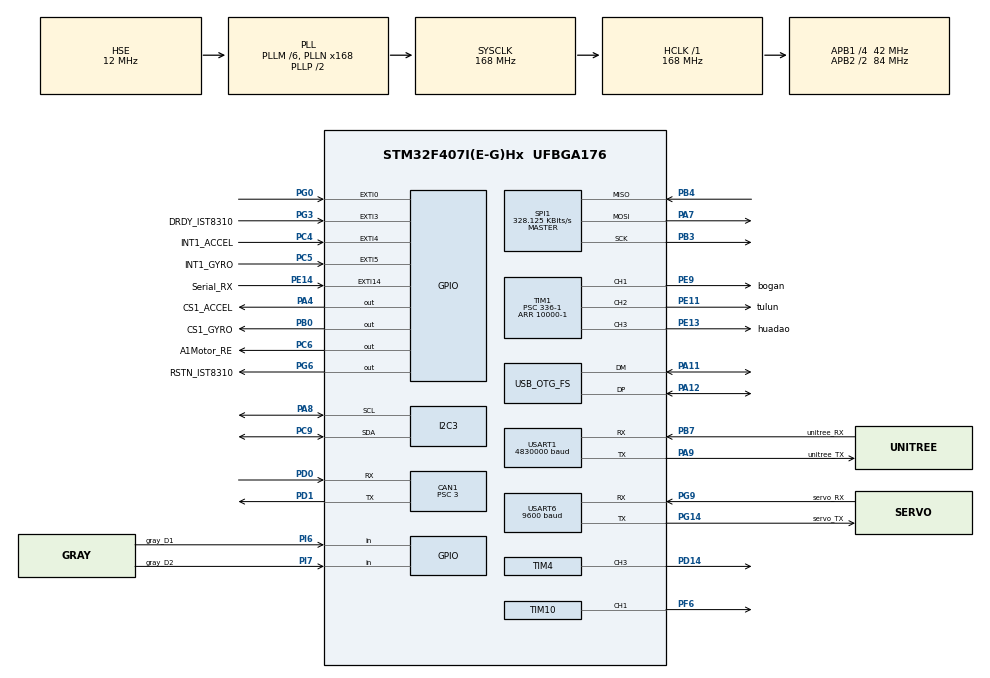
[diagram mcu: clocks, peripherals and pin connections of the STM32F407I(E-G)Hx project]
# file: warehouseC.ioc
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CAN1.BS1=CAN_BS1_10TQ
CAN1.BS2=CAN_BS2_3TQ
CAN1.CalculateBaudRate=1000000
CAN1.CalculateTimeBit=1000
CAN1.CalculateTimeQuantum=71.42857142857143
CAN1.Prescaler=3
Dma.Request0=SPI1_RX
Dma.Request1=SPI1_TX
Dma.Request2=USART1_TX
Dma.Request3=USART1_RX
Dma.Request4=USART6_RX
Dma.Request5=USART6_TX
Dma.SPI1_RX.0.Direction=DMA_PERIPH_TO_MEMORY
Dma.SPI1_RX.0.FIFOMode=DMA_FIFOMODE_DISABLE
Dma.SPI1_RX.0.Instance=DMA2_Stream2
Dma.SPI1_RX.0.MemDataAlignment=DMA_MDATAALIGN_BYTE
Dma.SPI1_RX.0.MemInc=DMA_MINC_ENABLE
Dma.SPI1_RX.0.Mode=DMA_NORMAL
Dma.SPI1_RX.0.PeriphDataAlignment=DMA_PDATAALIGN_BYTE
Dma.SPI1_RX.0.PeriphInc=DMA_PINC_DISABLE
Dma.SPI1_RX.0.Priority=DMA_PRIORITY_VERY_HIGH
Dma.SPI1_TX.1.Direction=DMA_MEMORY_TO_PERIPH
Dma.SPI1_TX.1.FIFOMode=DMA_FIFOMODE_DISABLE
Dma.SPI1_TX.1.Instance=DMA2_Stream3
Dma.SPI1_TX.1.MemDataAlignment=DMA_MDATAALIGN_BYTE
Dma.SPI1_TX.1.MemInc=DMA_MINC_ENABLE
Dma.SPI1_TX.1.Mode=DMA_NORMAL
Dma.SPI1_TX.1.PeriphDataAlignment=DMA_PDATAALIGN_BYTE
Dma.SPI1_TX.1.PeriphInc=DMA_PINC_DISABLE
Dma.SPI1_TX.1.Priority=DMA_PRIORITY_HIGH
Dma.USART1_RX.3.Direction=DMA_PERIPH_TO_MEMORY
Dma.USART1_RX.3.FIFOMode=DMA_FIFOMODE_DISABLE
Dma.USART1_RX.3.Instance=DMA2_Stream5
Dma.USART1_RX.3.MemDataAlignment=DMA_MDATAALIGN_BYTE
Dma.USART1_RX.3.MemInc=DMA_MINC_ENABLE
Dma.USART1_RX.3.Mode=DMA_CIRCULAR
Dma.USART1_RX.3.PeriphDataAlignment=DMA_PDATAALIGN_BYTE
Dma.USART1_RX.3.PeriphInc=DMA_PINC_DISABLE
Dma.USART1_RX.3.Priority=DMA_PRIORITY_VERY_HIGH
Dma.USART1_TX.2.Direction=DMA_MEMORY_TO_PERIPH
Dma.USART1_TX.2.FIFOMode=DMA_FIFOMODE_DISABLE
Dma.USART1_TX.2.Instance=DMA2_Stream7
Dma.USART1_TX.2.MemDataAlignment=DMA_MDATAALIGN_BYTE
Dma.USART1_TX.2.MemInc=DMA_MINC_ENABLE
Dma.USART1_TX.2.Mode=DMA_CIRCULAR
Dma.USART1_TX.2.PeriphDataAlignment=DMA_PDATAALIGN_BYTE
Dma.USART1_TX.2.PeriphInc=DMA_PINC_DISABLE
Dma.USART1_TX.2.Priority=DMA_PRIORITY_LOW
Dma.USART6_RX.4.Direction=DMA_PERIPH_TO_MEMORY
Dma.USART6_RX.4.FIFOMode=DMA_FIFOMODE_DISABLE
Dma.USART6_RX.4.Instance=DMA2_Stream1
Dma.USART6_RX.4.MemDataAlignment=DMA_MDATAALIGN_BYTE
Dma.USART6_RX.4.MemInc=DMA_MINC_ENABLE
Dma.USART6_RX.4.Mode=DMA_NORMAL
Dma.USART6_RX.4.PeriphDataAlignment=DMA_PDATAALIGN_BYTE
Dma.USART6_RX.4.PeriphInc=DMA_PINC_DISABLE
Dma.USART6_RX.4.Priority=DMA_PRIORITY_LOW
Dma.USART6_TX.5.Direction=DMA_MEMORY_TO_PERIPH
Dma.USART6_TX.5.FIFOMode=DMA_FIFOMODE_DISABLE
Dma.USART6_TX.5.Instance=DMA2_Stream6
Dma.USART6_TX.5.MemDataAlignment=DMA_MDATAALIGN_BYTE
Dma.USART6_TX.5.MemInc=DMA_MINC_ENABLE
Dma.USART6_TX.5.Mode=DMA_NORMAL
Dma.USART6_TX.5.PeriphDataAlignment=DMA_PDATAALIGN_BYTE
Dma.USART6_TX.5.PeriphInc=DMA_PINC_DISABLE
Dma.USART6_TX.5.Priority=DMA_PRIORITY_LOW
FREERTOS.INCLUDE_eTaskGetState=1
FREERTOS.INCLUDE_pcTaskGetTaskName=1
FREERTOS.INCLUDE_uxTaskGetStackHighWaterMark=1
FREERTOS.INCLUDE_vTaskCleanUpResources=1
FREERTOS.INCLUDE_vTaskDelayUntil=1
FREERTOS.INCLUDE_xEventGroupSetBitFromISR=1
FREERTOS.INCLUDE_xQueueGetMutexHolder=1
FREERTOS.INCLUDE_xSemaphoreGetMutexHolder=1
FREERTOS.INCLUDE_xTaskAbortDelay=1
FREERTOS.INCLUDE_xTaskGetCurrentTaskHandle=1
FREERTOS.INCLUDE_xTaskGetHandle=1
FREERTOS.INCLUDE_xTimerPendFunctionCall=1
FREERTOS.Tasks01=Prepare_Task_,-3,128,Prepare_Task,As weak,NULL,Dynamic,NULL,NULL
FREERTOS.configUSE_TIMERS=1
I2C3.I2C_Mode=I2C_Fast
Mcu.Family=STM32F4
Mcu.Name=STM32F407I(E-G)Hx
Mcu.Package=UFBGA176
NVIC.CAN1_RX0_IRQn=true\:6\:0\:true\:false\:true\:true\:true\:true\:true
NVIC.DMA2_Stream1_IRQn=true\:5\:0\:false\:false\:true\:true\:false\:true\:true
NVIC.DMA2_Stream2_IRQn=true\:5\:0\:true\:false\:true\:false\:false\:true\:true
NVIC.DMA2_Stream3_IRQn=true\:5\:0\:false\:false\:true\:true\:false\:true\:true
NVIC.DMA2_Stream5_IRQn=true\:5\:0\:false\:false\:true\:true\:false\:true\:true
NVIC.DMA2_Stream6_IRQn=true\:5\:0\:false\:false\:true\:true\:false\:true\:true
NVIC.DMA2_Stream7_IRQn=true\:5\:0\:false\:false\:true\:true\:false\:true\:true
NVIC.EXTI0_IRQn=true\:6\:0\:true\:false\:true\:true\:true\:true\:true
NVIC.EXTI15_10_IRQn=true\:5\:0\:false\:false\:true\:true\:true\:true\:true
NVIC.EXTI3_IRQn=true\:5\:0\:false\:false\:true\:true\:true\:true\:true
NVIC.EXTI4_IRQn=true\:5\:0\:false\:false\:true\:true\:true\:true\:true
NVIC.EXTI9_5_IRQn=true\:5\:0\:false\:false\:true\:true\:true\:true\:true
NVIC.OTG_FS_IRQn=true\:5\:0\:false\:false\:true\:true\:false\:true\:true
NVIC.PriorityGroup=NVIC_PRIORITYGROUP_4
NVIC.TIM2_IRQn=true\:5\:0\:false\:false\:true\:true\:true\:true\:true
NVIC.TIM6_DAC_IRQn=true\:15\:0\:false\:false\:true\:false\:false\:true\:true
NVIC.TimeBase=TIM6_DAC_IRQn
NVIC.TimeBaseIP=TIM6
NVIC.USART1_IRQn=true\:5\:0\:false\:false\:true\:true\:true\:true\:true
NVIC.USART6_IRQn=true\:5\:0\:false\:false\:true\:true\:true\:true\:true
PA11.Mode=Device_Only
PA11.Signal=USB_OTG_FS_DM
PA12.Mode=Device_Only
PA12.Signal=USB_OTG_FS_DP
PA13.Mode=Serial_Wire
PA13.Signal=SYS_JTMS-SWDIO
PA14.Mode=Serial_Wire
PA14.Signal=SYS_JTCK-SWCLK
PA4.GPIO_Label=CS1_ACCEL
PA4.GPIO_PuPd=GPIO_PULLUP
PA4.GPIO_Speed=GPIO_SPEED_FREQ_HIGH
PA4.PinState=GPIO_PIN_SET
PA4.Signal=GPIO_Output
PA7.GPIO_PuPd=GPIO_PULLUP
PA7.Mode=Full_Duplex_Master
PA7.Signal=SPI1_MOSI
PA8.GPIO_Pu=GPIO_PULLUP
PA8.Mode=I2C
PA8.Signal=I2C3_SCL
PA9.GPIO_Label=unitree_TX
PA9.Mode=Asynchronous
PA9.Signal=USART1_TX
PB0.GPIO_Label=CS1_GYRO
PB0.GPIO_PuPd=GPIO_PULLUP
PB0.GPIO_Speed=GPIO_SPEED_FREQ_HIGH
PB0.PinState=GPIO_PIN_SET
PB0.Signal=GPIO_Output
PB3.GPIO_PuPd=GPIO_PULLUP
PB3.Mode=Full_Duplex_Master
PB3.Signal=SPI1_SCK
PB4.GPIO_PuPd=GPIO_PULLUP
PB4.Mode=Full_Duplex_Master
PB4.Signal=SPI1_MISO
PB7.GPIO_Label=unitree_RX
PB7.Mode=Asynchronous
PB7.Signal=USART1_RX
PC4.GPIO_Label=INT1_ACCEL
PC4.GPIO_ModeDefaultEXTI=GPIO_MODE_IT_FALLING
PC4.GPIO_PuPd=GPIO_PULLUP
PC4.Signal=GPXTI4
PC5.GPIO_Label=INT1_GYRO
PC5.GPIO_ModeDefaultEXTI=GPIO_MODE_IT_FALLING
PC5.GPIO_PuPd=GPIO_PULLUP
PC5.Signal=GPXTI5
PC6.GPIO_Label=A1Motor_RE
PC6.Signal=GPIO_Output
PC9.GPIO_Pu=GPIO_PULLUP
PC9.Mode=I2C
PC9.Signal=I2C3_SDA
PD0.Mode=CAN_Activate
PD0.Signal=CAN1_RX
PD1.Mode=CAN_Activate
PD1.Signal=CAN1_TX
PD14.GPIO_PuPd=GPIO_PULLUP
PD14.GPIO_Speed=GPIO_SPEED_FREQ_HIGH
PD14.Signal=S_TIM4_CH3
PE11.GPIO_Label=tulun
PE11.Signal=S_TIM1_CH2
PE13.GPIO_Label=huadao
PE13.Signal=S_TIM1_CH3
PE14.GPIO_Label=Serial_RX
PE14.GPIO_ModeDefaultEXTI=GPIO_MODE_IT_FALLING
PE14.GPIO_PuPd=GPIO_PULLUP
PE14.Signal=GPXTI14
PE9.GPIO_Label=bogan
PE9.Signal=S_TIM1_CH1
PF6.GPIO_PuPd=GPIO_PULLUP
PF6.GPIO_Speed=GPIO_SPEED_FREQ_HIGH
PF6.Signal=S_TIM10_CH1
PG0.GPIO_ModeDefaultEXTI=GPIO_MODE_IT_FALLING
PG0.GPIO_PuPd=GPIO_PULLUP
PG0.Signal=GPXTI0
PG14.GPIO_Label=servo_TX
PG14.Mode=Asynchronous
PG14.Signal=USART6_TX
PG3.GPIO_Label=DRDY_IST8310
PG3.GPIO_ModeDefaultEXTI=GPIO_MODE_IT_FALLING
PG3.GPIO_PuPd=GPIO_PULLUP
PG3.Signal=GPXTI3
PG6.GPIO_Label=RSTN_IST8310
PG6.GPIO_PuPd=GPIO_PULLUP
PG6.GPIO_Speed=GPIO_SPEED_FREQ_MEDIUM
PG6.PinState=GPIO_PIN_SET
PG6.Signal=GPIO_Output
PG9.GPIO_Label=servo_RX
PG9.Mode=Asynchronous
PG9.Signal=USART6_RX
PH0-OSC_IN.Mode=HSE-External-Oscillator
PH0-OSC_IN.Signal=RCC_OSC_IN
PH1-OSC_OUT.Mode=HSE-External-Oscillator
PH1-OSC_OUT.Signal=RCC_OSC_OUT
PI6.GPIO_Label=gray_D1
PI6.Signal=GPIO_Input
PI7.GPIO_Label=gray_D2
PI7.Signal=GPIO_Input
ProjectManager.HeapSize=0x1000
ProjectManager.StackSize=0x400
ProjectManager.TargetToolchain=MDK-ARM V5.32
RCC.48MHZClocksFreq_Value=48000000
RCC.AHBFreq_Value=168000000
RCC.APB1CLKDivider=RCC_HCLK_DIV4
RCC.APB1Freq_Value=42000000
RCC.APB1TimFreq_Value=84000000
RCC.APB2CLKDivider=RCC_HCLK_DIV2
RCC.APB2Freq_Value=84000000
RCC.APB2TimFreq_Value=168000000
RCC.CortexFreq_Value=168000000
RCC.HCLKFreq_Value=168000000
RCC.HSE_VALUE=12000000
RCC.HSI_VALUE=16000000
RCC.LSE_VALUE=32768
RCC.PLLM=6
RCC.PLLN=168
RCC.PLLQ=7
RCC.SYSCLKFreq_VALUE=168000000
RCC.SYSCLKSource=RCC_SYSCLKSOURCE_PLLCLK
RCC.VCOOutputFreq_Value=336000000
SH.S_TIM10_CH1.0=TIM10_CH1,PWM Generation1 CH1
SH.S_TIM1_CH1.0=TIM1_CH1,PWM Generation1 CH1
SH.S_TIM1_CH2.0=TIM1_CH2,PWM Generation2 CH2
SH.S_TIM1_CH3.0=TIM1_CH3,PWM Generation3 CH3
SH.S_TIM4_CH3.0=TIM4_CH3,PWM Generation3 CH3
SPI1.BaudRatePrescaler=SPI_BAUDRATEPRESCALER_256
SPI1.CLKPhase=SPI_PHASE_2EDGE
SPI1.CLKPolarity=SPI_POLARITY_HIGH
SPI1.CalculateBaudRate=328.125 KBits/s
SPI1.Direction=SPI_DIRECTION_2LINES
SPI1.Mode=SPI_MODE_MASTER
SPI1.VirtualType=VM_MASTER
TIM1.Channel-PWM\ Generation1\ CH1=TIM_CHANNEL_1
TIM1.Channel-PWM\ Generation2\ CH2=TIM_CHANNEL_2
TIM1.Channel-PWM\ Generation3\ CH3=TIM_CHANNEL_3
TIM1.Period=10000-1
TIM1.Prescaler=336-1
TIM1.Pulse-PWM\ Generation1\ CH1=350
TIM1.Pulse-PWM\ Generation2\ CH2=250
TIM1.Pulse-PWM\ Generation3\ CH3=900
TIM10.Channel=TIM_CHANNEL_1
TIM10.Period=5000-1
TIM2.AutoReloadPreload=TIM_AUTORELOAD_PRELOAD_ENABLE
TIM2.Period=103
TIM2.Prescaler=83
TIM3.Prescaler=83
TIM4.Channel-PWM\ Generation3\ CH3=TIM_CHANNEL_3
TIM4.Prescaler=168-1
USART1.BaudRate=4830000
USART1.VirtualMode=VM_ASYNC
USART6.BaudRate=9600
USART6.VirtualMode=VM_ASYNC
USB_DEVICE.CLASS_NAME_FS=CDC
USB_DEVICE.VirtualMode-CDC_FS=Cdc
USB_DEVICE.VirtualModeFS=Cdc_FS
USB_OTG_FS.VirtualMode=Device_Only
VP_FREERTOS_VS_CMSIS_V1.Mode=CMSIS_V1
VP_SYS_VS_tim6.Mode=TIM6
VP_TIM10_VS_ClockSourceINT.Mode=Enable_Timer
VP_TIM1_VS_ClockSourceINT.Mode=Internal
VP_TIM2_VS_ClockSourceINT.Mode=Internal
VP_TIM3_VS_ClockSourceINT.Mode=Internal
VP_TIM4_VS_ClockSourceINT.Mode=Internal
VP_USB_DEVICE_VS_USB_DEVICE_CDC_FS.Mode=CDC_FS
board=custom

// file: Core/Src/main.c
/* USER CODE BEGIN Header */
/**
  ******************************************************************************
  * @file           : main.c
  * @brief          : Main program body
  ******************************************************************************
  * @attention
  *
  * Copyright (c) 2024 STMicroelectronics.
  * All rights reserved.
  *
  * This software is licensed under terms that can be found in the LICENSE file
  * in the root directory of this software component.
  * If no LICENSE file comes with this software, it is provided AS-IS.
  *
  ******************************************************************************
  */
/* USER CODE END Header */
#include "main.h"
#include "cmsis_os.h"
#include "can.h"
#include "dma.h"
#include "i2c.h"
#include "spi.h"
#include "tim.h"
#include "usart.h"
#include "usb_device.h"
#include "gpio.h"

/* USER CODE BEGIN Includes */

#include "bsp_can.h"
#include "INS_task.h"
#include "calibrate_task.h"
#include "bsp_delay.h"
#include "IO_Serial.h"

/* USER CODE END Includes */

/* USER CODE BEGIN PV */

//IC卡
uint8_t ic_read_start = 0;
uint8_t ic_buf_size = 0;
uint8_t ic_buf[22] = {0};
uint8_t X = 0;
uint8_t IC_data;//当前识别到的IC卡内的数据(几行几列)
uint8_t Data;
uint8_t recvData = 0;  //接收数据
uint8_t recvStat = COM_STOP_BIT;  //接收状态

/* USER CODE END PV */

void SystemClock_Config(void);
void MX_FREERTOS_Init(void);

int main(void)
{

  /* MCU Configuration--------------------------------------------------------*/

  /* Reset of all peripherals, Initializes the Flash interface and the Systick. */
  HAL_Init();

  /* Configure the system clock */
  SystemClock_Config();

  /* Initialize all configured peripherals */
  MX_GPIO_Init();
  MX_DMA_Init();
  MX_USART1_UART_Init();
  MX_CAN1_Init();
  MX_I2C3_Init();
  MX_SPI1_Init();
  MX_TIM10_Init();
  MX_TIM4_Init();
  MX_TIM1_Init();
  MX_USART6_UART_Init();
  MX_TIM2_Init();
  MX_TIM3_Init();
  /* USER CODE BEGIN 2 */

	can_filter_init();
	delay_init();
    cali_param_init();

	//舵机
	HAL_TIM_PWM_Start(&htim1, TIM_CHANNEL_1);
	HAL_TIM_PWM_Start(&htim1, TIM_CHANNEL_2);
	HAL_TIM_PWM_Start(&htim1, TIM_CHANNEL_3);

	HAL_TIM_Base_Start(&htim3);//IO串口延时定时器

  /* USER CODE END 2 */

  /* Call init function for freertos objects (in cmsis_os2.c) */
  MX_FREERTOS_Init();

  /* Start scheduler */
  osKernelStart();

  /* We should never get here as control is now taken by the scheduler */

  /* Infinite loop */
  while (1)
  {

  }
}

void SystemClock_Config(void)
{
  RCC_OscInitTypeDef RCC_OscInitStruct = {0};
  RCC_ClkInitTypeDef RCC_ClkInitStruct = {0};

  /** Configure the main internal regulator output voltage
  */
  __HAL_RCC_PWR_CLK_ENABLE();
  __HAL_PWR_VOLTAGESCALING_CONFIG(PWR_REGULATOR_VOLTAGE_SCALE1);

  /** Initializes the RCC Oscillators according to the specified parameters
  * in the RCC_OscInitTypeDef structure.
  */
  RCC_OscInitStruct.OscillatorType = RCC_OSCILLATORTYPE_HSE;
  RCC_OscInitStruct.HSEState = RCC_HSE_ON;
  RCC_OscInitStruct.PLL.PLLState = RCC_PLL_ON;
  RCC_OscInitStruct.PLL.PLLSource = RCC_PLLSOURCE_HSE;
  RCC_OscInitStruct.PLL.PLLM = 6;
  RCC_OscInitStruct.PLL.PLLN = 168;
  RCC_OscInitStruct.PLL.PLLP = RCC_PLLP_DIV2;
  RCC_OscInitStruct.PLL.PLLQ = 7;
  if (HAL_RCC_OscConfig(&RCC_OscInitStruct) != HAL_OK)
  {
    Error_Handler();
  }

  /** Initializes the CPU, AHB and APB buses clocks
  */
  RCC_ClkInitStruct.ClockType = RCC_CLOCKTYPE_HCLK|RCC_CLOCKTYPE_SYSCLK
                              |RCC_CLOCKTYPE_PCLK1|RCC_CLOCKTYPE_PCLK2;
  RCC_ClkInitStruct.SYSCLKSource = RCC_SYSCLKSOURCE_PLLCLK;
  RCC_ClkInitStruct.AHBCLKDivider = RCC_SYSCLK_DIV1;
  RCC_ClkInitStruct.APB1CLKDivider = RCC_HCLK_DIV4;
  RCC_ClkInitStruct.APB2CLKDivider = RCC_HCLK_DIV2;

  if (HAL_RCC_ClockConfig(&RCC_ClkInitStruct, FLASH_LATENCY_5) != HAL_OK)
  {
    Error_Handler();
  }
}

void HAL_TIM_PeriodElapsedCallback(TIM_HandleTypeDef *htim)
{

  if (htim->Instance == TIM6) {
    HAL_IncTick();
  }
  /* USER CODE BEGIN Callback 1 */

  if(htim == &Serial_TIM)    //如果是TIM1 触发中断
	{
		recvStat++;
		if(recvStat == COM_STOP_BIT)
		{
			HAL_TIM_Base_Stop(&Serial_TIM);
			__HAL_TIM_SetCounter(&Serial_TIM, 0);

			//到这就接收到完整的1个字节数据
			if(ic_read_start == 1)
			{
				if(ic_buf_size == 1 && recvData != 0x16)	//第二帧对不上
				{
					ic_read_start = 0;
					ic_buf_size = -1;
				}
				ic_buf[ic_buf_size++] = recvData;

				if(ic_buf_size == 22)						//接收完毕
				{
					ic_read_start = 0;
					ic_buf_size = 0;						//计数归零
					for(uint8_t i = 0;i < 21 ; i++)
					{
						X^=ic_buf[i];
					}
					X=~X;
					if(X == ic_buf[21])						//校验成功
					{
						IC_data = ic_buf[15];				//将球的数据存入IC_Data
					}
					X = 0;
				}
			}

			if(ic_read_start == 0 && recvData == 0x04)		//检测到帧头
			{
				ic_read_start = 1;
				ic_buf[ic_buf_size++] = recvData;
			}
			return;
		}

		if(IO_SERIAL_RX)
		{
			recvData |= (1 << (recvStat - 1));
		}
		else
		{
			recvData &= ~(1 << (recvStat - 1));
		}
	}
}

void Error_Handler(void)
{
  __disable_irq();
  while (1)
  {
  }
}

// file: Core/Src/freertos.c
/* USER CODE BEGIN Header */
/**
  ******************************************************************************
  * File Name          : freertos.c
  * Description        : Code for freertos applications
  ******************************************************************************
  * @attention
  *
  * Copyright (c) 2024 STMicroelectronics.
  * All rights reserved.
  *
  * This software is licensed under terms that can be found in the LICENSE file
  * in the root directory of this software component.
  * If no LICENSE file comes with this software, it is provided AS-IS.
  *
  ******************************************************************************
  */
/* USER CODE END Header */

#include "FreeRTOS.h"
#include "task.h"
#include "main.h"
#include "cmsis_os.h"

osThreadId Prepare_Task_Handle;

void Prepare_Task(void const * argument);

extern void MX_USB_DEVICE_Init(void);
void MX_FREERTOS_Init(void); /* (MISRA C 2004 rule 8.1) */

/* GetIdleTaskMemory prototype (linked to static allocation support) */
void vApplicationGetIdleTaskMemory( StaticTask_t **ppxIdleTaskTCBBuffer, StackType_t **ppxIdleTaskStackBuffer, uint32_t *pulIdleTaskStackSize );

/* GetTimerTaskMemory prototype (linked to static allocation support) */
void vApplicationGetTimerTaskMemory( StaticTask_t **ppxTimerTaskTCBBuffer, StackType_t **ppxTimerTaskStackBuffer, uint32_t *pulTimerTaskStackSize );

/* USER CODE BEGIN GET_IDLE_TASK_MEMORY */
static StaticTask_t xIdleTaskTCBBuffer;
static StackType_t xIdleStack[configMINIMAL_STACK_SIZE];

void vApplicationGetIdleTaskMemory( StaticTask_t **ppxIdleTaskTCBBuffer, StackType_t **ppxIdleTaskStackBuffer, uint32_t *pulIdleTaskStackSize )
{
  *ppxIdleTaskTCBBuffer = &xIdleTaskTCBBuffer;
  *ppxIdleTaskStackBuffer = &xIdleStack[0];
  *pulIdleTaskStackSize = configMINIMAL_STACK_SIZE;
  /* place for user code */
}
/* USER CODE END GET_IDLE_TASK_MEMORY */

/* USER CODE BEGIN GET_TIMER_TASK_MEMORY */
static StaticTask_t xTimerTaskTCBBuffer;
static StackType_t xTimerStack[configTIMER_TASK_STACK_DEPTH];

void vApplicationGetTimerTaskMemory( StaticTask_t **ppxTimerTaskTCBBuffer, StackType_t **ppxTimerTaskStackBuffer, uint32_t *pulTimerTaskStackSize )
{
  *ppxTimerTaskTCBBuffer = &xTimerTaskTCBBuffer;
  *ppxTimerTaskStackBuffer = &xTimerStack[0];
  *pulTimerTaskStackSize = configTIMER_TASK_STACK_DEPTH;
  /* place for user code */
}
/* USER CODE END GET_TIMER_TASK_MEMORY */

void MX_FREERTOS_Init(void) {

  /* Create the thread(s) */
  /* definition and creation of Prepare_Task_ */
  osThreadDef(Prepare_Task_, Prepare_Task, osPriorityIdle, 0, 128);
  Prepare_Task_Handle = osThreadCreate(osThread(Prepare_Task_), NULL);

}

__weak void Prepare_Task(void const * argument)
{
  /* init code for USB_DEVICE */
  MX_USB_DEVICE_Init();
  for(;;)
  {
    osDelay(1);
  }
}
